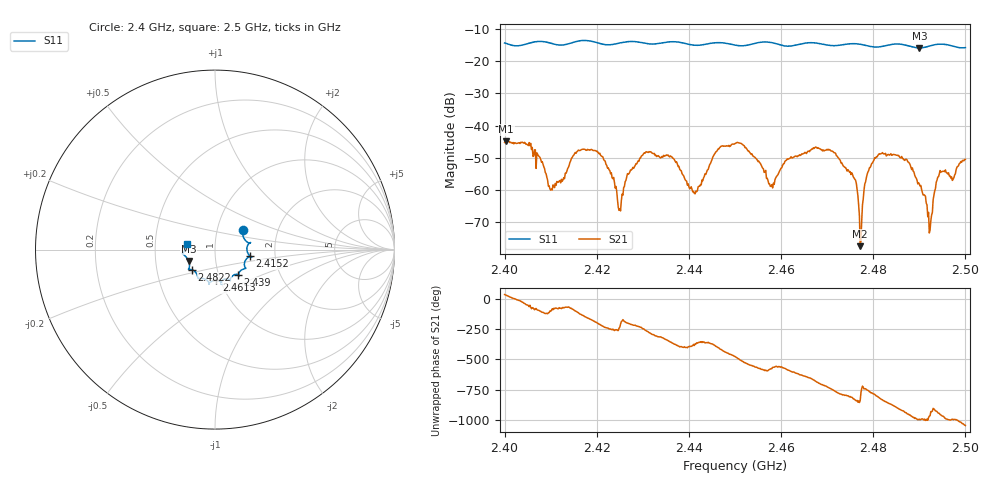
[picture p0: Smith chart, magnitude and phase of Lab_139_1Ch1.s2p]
# Hz S RI R 50
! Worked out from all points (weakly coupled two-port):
!   601 points, 2.4 GHz to 2.5 GHz, reference 50 ohm
!   highest |S21| = -44.83 dB at 2.4003 GHz (marker M1); lowest = -77.4 dB at 2.4772 GHz (marker M2)
!   lowest |S11| = -15.9 dB at 2.49 GHz (marker M3), VSWR 1.38, Z = 36.9 - j4.84 ohm
!   |S11| at or under -10 dB: start of sweep to end of sweep
!   S12 and S22 are empty: the file has one direction only
!   S11 on the Smith chart (normalised r, x): 2.4 GHz: 1.33, +0.31; 2.4152 GHz: 1.48, -0.11; 2.439 GHz: 1.24, -0.36; 2.4613 GHz: 0.96, -0.34; 2.4822 GHz: 0.76, -0.17; 2.5 GHz: 0.72, +0.05
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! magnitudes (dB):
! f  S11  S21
! 2.4 GHz  -14.4  -45.2
! 2.4003 GHz  -14.5  -44.8
! 2.41 GHz  -14.4  -60.0
! 2.4152 GHz  -14.1  -48.7
! 2.4167 GHz  -13.6  -47.4
! 2.4212 GHz  -14.7  -49.6
! 2.425 GHz  -14.4  -65.8
! 2.4333 GHz  -14.5  -49.3
! 2.439 GHz  -14.5  -56.1
! 2.45 GHz  -15.0  -45.6
! 2.4578 GHz  -14.2  -58.7
! 2.4613 GHz  -15.4  -50.3
! 2.4667 GHz  -14.3  -47.2
! 2.4755 GHz  -14.6  -55.1
! 2.4772 GHz  -14.8  -77.4
! 2.479 GHz  -15.3  -54.0
! 2.4822 GHz  -15.4  -48.7
! 2.4833 GHz  -15.0  -49.0
! 2.49 GHz  -15.9  -58.1
! 2.4923 GHz  -15.3  -72.4
! 2.4943 GHz  -14.7  -55.1
! 2.5 GHz  -15.8  -50.5
